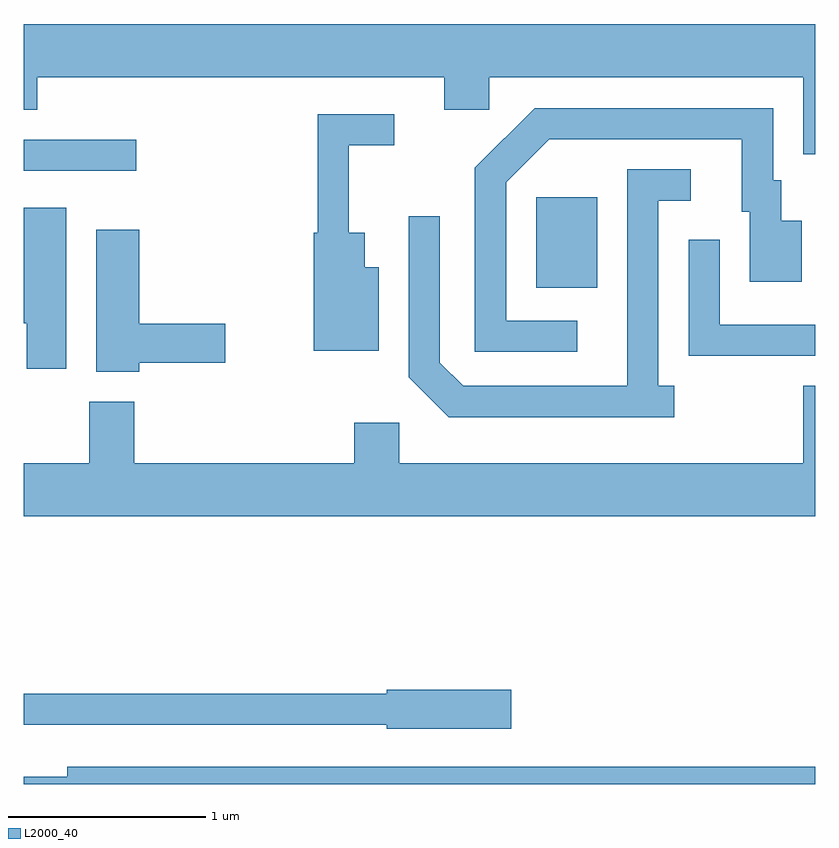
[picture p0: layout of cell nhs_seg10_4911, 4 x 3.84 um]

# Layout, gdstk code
import gdstk
lib = gdstk.Library(unit=1e-6, precision=1e-09)
def R(c, l, rs):  # rectangles x0, y0, x1, y1
    for r in rs: c.add(gdstk.rectangle(r[:2], r[2:], *l))
def P(c, l, *ps):  # polygons
    for p in ps: c.add(gdstk.Polygon(p, *l))
L2000_40 = (2000, 40)

nhs_seg10_4911 = lib.new_cell('nhs_seg10_4911')
R(nhs_seg10_4911, L2000_40, [(332.201,2155.031,332.509,2155.489), (329.611,2155.621,330.178,2155.779)])
P(nhs_seg10_4911, L2000_40, [(333.611,2156.364),(329.611,2156.364),(329.611,2155.931),(329.679,2155.931),(329.679,2156.096),(331.736,2156.096),(331.736,2155.931),(331.964,2155.931),(331.964,2156.096),(333.551,2156.096),(333.551,2155.706),(333.611,2155.706)],
  [(332.408,2154.864),(332.049,2154.864),(332.049,2155.564),(332.267,2155.781),(333.241,2155.781),(333.241,2155.416),(333.281,2155.416),(333.281,2155.061),(333.544,2155.061),(333.544,2155.369),(333.439,2155.369),(333.439,2155.574),(333.399,2155.574),(333.399,2155.939),(332.194,2155.939),(331.891,2155.637),(331.891,2154.706),(332.408,2154.706)],
  [(331.404,2155.134),(331.334,2155.134),(331.334,2155.309),(331.254,2155.309),(331.254,2155.751),(331.483,2155.751),(331.483,2155.909),(331.096,2155.909),(331.096,2155.309),(331.076,2155.309),(331.076,2154.711),(331.404,2154.711)],
  [(332.898,2154.534),(332.819,2154.534),(332.819,2155.471),(332.983,2155.471),(332.983,2155.629),(332.661,2155.629),(332.661,2154.534),(331.832,2154.534),(331.714,2154.652),(331.714,2155.393),(331.556,2155.393),(331.556,2154.579),(331.759,2154.376),(332.898,2154.376)],
  [(329.824,2155.434),(329.611,2155.434),(329.611,2154.851),(329.626,2154.851),(329.626,2154.621),(329.824,2154.621)],
  [(330.194,2154.651),(330.629,2154.651),(330.629,2154.849),(330.194,2154.849),(330.194,2155.324),(329.976,2155.324),(329.976,2154.606),(330.194,2154.606)],
  [(333.611,2154.844),(333.129,2154.844),(333.129,2155.273),(332.971,2155.273),(332.971,2154.686),(333.611,2154.686)],
  [(333.611,2154.534),(333.551,2154.534),(333.551,2154.144),(331.509,2154.144),(331.509,2154.349),(331.281,2154.349),(331.281,2154.144),(330.169,2154.144),(330.169,2154.454),(329.941,2154.454),(329.941,2154.144),(329.611,2154.144),(329.611,2153.876),(333.611,2153.876)],
  [(332.074,2152.999),(331.446,2152.999),(331.446,2152.979),(329.611,2152.979),(329.611,2152.821),(331.446,2152.821),(331.446,2152.801),(332.074,2152.801)],
  [(333.611,2152.609),(329.831,2152.609),(329.831,2152.559),(329.611,2152.559),(329.611,2152.522),(333.611,2152.522)])

lib.write_gds('nhs_seg10_4911.gds')
